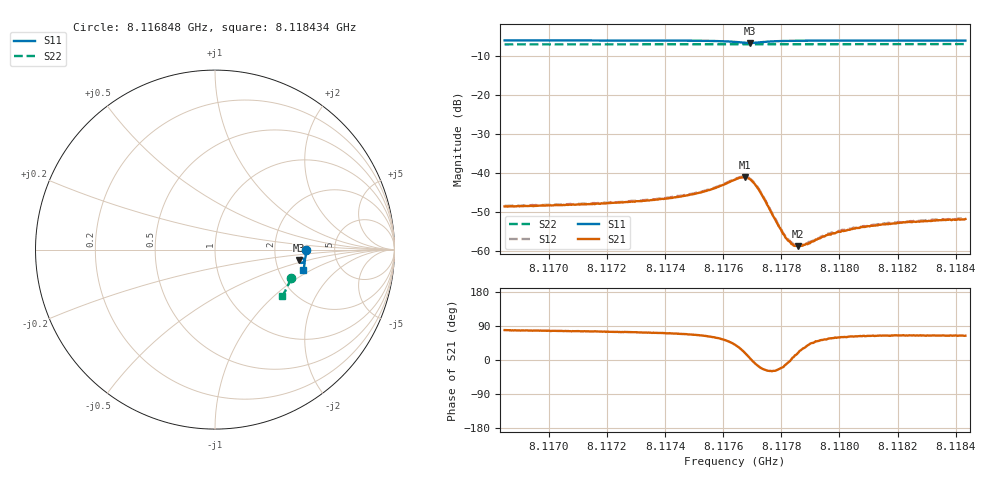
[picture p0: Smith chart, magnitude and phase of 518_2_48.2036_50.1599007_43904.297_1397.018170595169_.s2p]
#  HZ  S  RI  R  50.00
! Rohde & Schwarz Vector Network Analyzer
! Rohde-Schwarz,ZNB20-2Port,1311601062101988,3.16
! Created: UTC 3/20/2024, 11:59:15 AM
! freq[Hz]  re:S11  im:S11  re:S21  im:S21  re:S12  im:S12  re:S22  im:S22
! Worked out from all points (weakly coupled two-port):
!   401 points, 8.116848 GHz to 8.118434 GHz, reference 50 ohm
!   highest |S21| = -41.05 dB at 8.117676 GHz (marker M1); lowest = -58.7 dB at 8.117859 GHz (marker M2)
!   lowest |S11| = -6.5 dB at 8.117692 GHz (marker M3), VSWR 2.78, Z = 135 - j20.2 ohm
!   |S11| at or under -10 dB: nowhere
!   |S22| runs from -6.9 to -6.8 dB; largest |S21 - S12| = 0.00024
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8.116848e9  0.5069 -0.00397  0.000719 0.00367  0.00081 0.00373  0.4223 -0.1583
8.1171136e9  0.5059 -0.0249  0.000998 0.00387  0.00106 0.00393  0.416 -0.1758
8.1172523e9  0.5047 -0.0362  0.00116 0.00405  0.00121 0.00412  0.4126 -0.1849
8.1173791e9  0.5028 -0.0472  0.00149 0.00438  0.00156 0.00448  0.4091 -0.1931
8.1174505e9  0.5012 -0.0541  0.0018 0.00466  0.00184 0.00476  0.4072 -0.1977
8.1175218e9  0.4985 -0.0619  0.00239 0.00512  0.00245 0.0052  0.4049 -0.2024
8.1175813e9  0.4933 -0.0693  0.00353 0.00563  0.00363 0.00571  0.4029 -0.2062
8.1176408e9  0.4798 -0.0746  0.00629 0.00535  0.0065 0.00543  0.4007 -0.21
8.1176764e9  0.4681 -0.0662  0.00845 0.00267  0.00858 0.00267  0.3992 -0.2113
8.1176923e9  0.4669 -0.0582  0.00834 0.000666  0.00845 0.000663  0.3989 -0.2121
8.1177082e9  0.4704 -0.051  0.00724 -0.000997  0.00742 -0.00104  0.3984 -0.2128
8.117724e9  0.4767 -0.0471  0.00573 -0.00187  0.00584 -0.00194  0.3984 -0.2136
8.1178112e9  0.4963 -0.0571  0.00154 -0.000403  0.00152 -0.000472  0.3965 -0.2195
8.117839e9  0.4977 -0.0612  0.00121 0.000131  0.00125 7.79e-05  0.3958 -0.2214
8.1178588e9  0.4983 -0.064  0.00109 0.000389  0.00113 0.000387  0.3951 -0.2225
8.1178826e9  0.4987 -0.067  0.00101 0.000666  0.00101 0.00069  0.3944 -0.2241
8.1179063e9  0.4987 -0.0698  0.000942 0.00094  0.000975 0.000927  0.3937 -0.2257
8.11795e9  0.4988 -0.0745  0.000895 0.00126  0.00091 0.00129  0.3922 -0.2285
8.1180054e9  0.4986 -0.0798  0.000876 0.00154  0.000942 0.00157  0.3904 -0.232
8.1180808e9  0.4977 -0.0866  0.000909 0.00183  0.000926 0.00187  0.3878 -0.2367
8.1181719e9  0.4965 -0.0942  0.000985 0.00201  0.000998 0.00207  0.3848 -0.2422
8.1184335e9  0.4922 -0.1145  0.00113 0.00232  0.00114 0.00237  0.3753 -0.258
